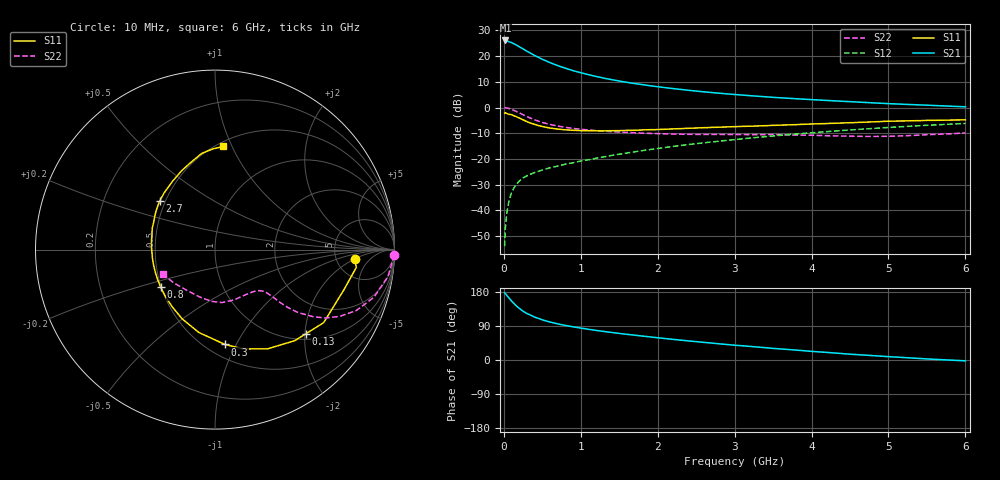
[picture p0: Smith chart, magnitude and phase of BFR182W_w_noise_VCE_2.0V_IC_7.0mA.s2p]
! Infineon Technologies  Discrete & RF Semiconductors
! BFR182W
! VCE =  2.0 V,  IC =  7.0 mA
! Common Emitter S-Parameters:  Jan 2017
# GHz  S  MA  R  50
!  f  S11  S21  S12  S22
! GHz  MAG  ANG  MAG  ANG  MAG  ANG  MAG  ANG
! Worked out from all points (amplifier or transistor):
!   77 points, 10 MHz to 6 GHz, reference 50 ohm
!   highest |S21| = 26.1 dB at 20 MHz (marker M1)
!   |S21| within 3 dB of that: start of sweep to 233.4 MHz
!   unconditionally stable (mu >= 1): 1.162 GHz to 2.843 GHz
!   at 130 MHz: K = 0.21, MSG = 28.1 dB, |S12| = -31.4 dB
!   at 2.2 GHz: K = 1.04, MAG = 10.0 dB, |S12| = -15.2 dB
!   at 6 GHz: K = 0.87, MSG = 3.2 dB, |S12| = -6.2 dB
!   lowest NFmin = 0.95 dB at 450 MHz
!   S11 on the Smith chart (normalised r, x): 10 MHz: 7.57, -1.94; 130 MHz: 1.14, -2.03; 300 MHz: 0.61, -0.90; 800 MHz: 0.50, -0.24; 2.7 GHz: 0.47, +0.30; 6 GHz: 0.54, +0.93
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0.01  0.7796 -3.7  19.87 177.4  0.002 85.3  0.9968 -1.7
0.02  0.7937 -7.2  20.2 175.0  0.0044 95.0  0.9907 -3.7
0.05  0.7523 -17.3  19.51 167.5  0.0113 80.9  0.9752 -8.9
0.1  0.7295 -33.9  18.38 155.7  0.022 76.2  0.9236 -16.8
0.13  0.6908 -42.6  17.4 149.6  0.0269 71.0  0.8821 -20.6
0.15  0.6746 -48.8  16.87 145.2  0.0303 68.5  0.8568 -23.4
0.2  0.6255 -62.1  15.29 136.3  0.0371 63.6  0.7874 -28.2
0.25  0.5762 -73.9  13.84 128.7  0.0427 60.0  0.7234 -31.8
0.3  0.5314 -84.0  12.46 122.7  0.0468 57.6  0.6642 -34.3
0.4  0.4708 -100.9  10.33 113.1  0.0544 55.6  0.5761 -37.3
0.5  0.4277 -115.2  8.687 106.0  0.0607 55.4  0.5125 -38.6
0.6  0.398 -126.8  7.488 100.2  0.0672 55.1  0.4679 -39.1
0.7  0.3799 -136.9  6.546 95.4  0.0724 56.3  0.4353 -39.2
0.8  0.3683 -145.2  5.82 91.2  0.0788 57.4  0.4116 -39.4
1.1  0.353 -165.9  4.359 81.1  0.0961 59.2  0.3659 -40.3
1.5  0.3556 174.6  3.277 70.2  0.1233 60.9  0.3325 -43.5
2.1  0.3777 153.9  2.434 56.6  0.1669 60.9  0.3074 -53.0
2.7  0.4094 138.6  1.958 44.7  0.2133 58.9  0.2992 -65.8
3.1  0.4285 129.7  1.746 37.5  0.2457 56.6  0.2974 -74.2
4.1  0.4828 111.1  1.398 21.4  0.3313 49.3  0.2854 -96.5
5.1  0.5445 96.5  1.173 7.7  0.4171 40.2  0.2781 -128.5
6  0.5764 85.5  1.032 -2.3  0.4902 31.0  0.32 -154.8
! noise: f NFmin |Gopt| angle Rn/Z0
0.45  0.95  0.17  35  0.16
0.9  1.04  0.15  63  0.15
1.9  1.57  0.18  174  0.13
2.4  1.84  0.19  -178  0.18
